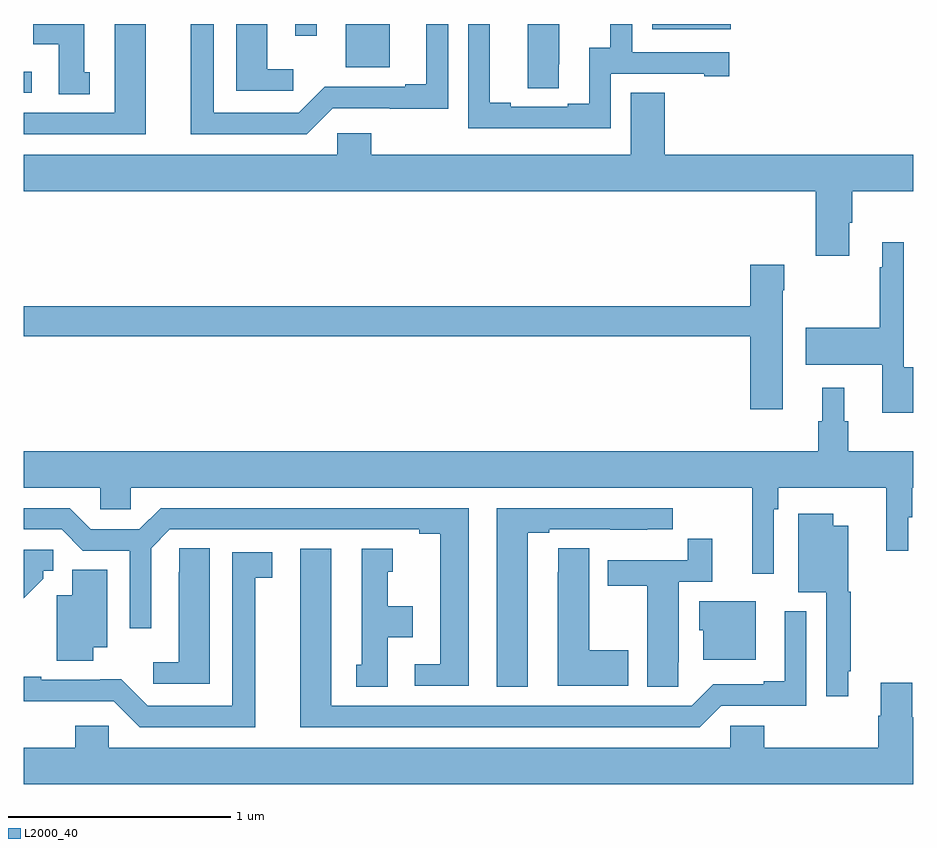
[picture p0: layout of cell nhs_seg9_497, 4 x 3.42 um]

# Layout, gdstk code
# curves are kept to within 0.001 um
import gdstk
lib = gdstk.Library(unit=1e-6, precision=1e-09)
def R(c, l, rs):  # rectangles x0, y0, x1, y1
    for r in rs: c.add(gdstk.rectangle(r[:2], r[2:], *l))
def P(c, l, *ps):  # polygons
    for p in ps: c.add(gdstk.Polygon(p, *l))
L2000_40 = (2000, 40)

nhs_seg9_497 = lib.new_cell('nhs_seg9_497')
R(nhs_seg9_497, L2000_40, [(135,1202.19,135.037,1202.286), (136.448,1202.306,136.645,1202.5), (136.221,1202.448,136.318,1202.5), (137.826,1202.477,138.178,1202.5)])
P(nhs_seg9_497, L2000_40, [(137.406,1202.32),(137.407,1202.32),(137.407,1202.5),(137.267,1202.5),(137.267,1202.212),(137.406,1202.212)],
  [(136.213,1202.296),(136.096,1202.296),(136.096,1202.5),(135.956,1202.5),(135.956,1202.199),(136.213,1202.199)],
  [(135.55,1202.5),(135.41,1202.5),(135.41,1202.1),(135,1202.1),(135,1202.004),(135.55,1202.004)],
  [(137.64,1202.277),(138.059,1202.277),(138.059,1202.265),(138.172,1202.265),(138.172,1202.373),(137.736,1202.373),(137.736,1202.5),(137.638,1202.5),(137.638,1202.393),(137.543,1202.393),(137.543,1202.142),(137.447,1202.142),(137.447,1202.127),(137.191,1202.127),(137.191,1202.147),(137.095,1202.147),(137.095,1202.5),(136.998,1202.5),(136.998,1202.031),(137.64,1202.031)],
  [(136.389,1202.121),(136.908,1202.12),(136.908,1202.5),(136.811,1202.5),(136.811,1202.23),(136.715,1202.23),(136.715,1202.217),(136.353,1202.217),(136.236,1202.1),(135.856,1202.1),(135.856,1202.5),(135.752,1202.5),(135.752,1202.004),(136.272,1202.004)],
  [(135.298,1202.283),(135.274,1202.283),(135.274,1202.5),(135.044,1202.5),(135.044,1202.408),(135.158,1202.408),(135.158,1202.185),(135.298,1202.185)],
  [(138.712,1201.606),(138.725,1201.606),(138.725,1201.748),(139,1201.748),(139,1201.912),(137.882,1201.912),(137.882,1202.192),(137.729,1202.192),(137.729,1201.912),(136.562,1201.912),(136.562,1202.01),(136.41,1202.01),(136.41,1201.912),(135,1201.912),(135,1201.748),(138.56,1201.748),(138.56,1201.458),(138.712,1201.458)],
  [(139,1200.958),(138.957,1200.958),(138.957,1201.519),(138.86,1201.519),(138.86,1201.406),(138.849,1201.406),(138.849,1201.134),(138.516,1201.134),(138.516,1200.968),(138.86,1200.968),(138.86,1200.752),(139,1200.752)],
  [(138.412,1201.304),(138.42,1201.304),(138.42,1201.417),(138.266,1201.417),(138.266,1201.232),(135,1201.232),(135,1201.096),(138.266,1201.096),(138.266,1200.768),(138.412,1200.768)],
  [(138.372,1200.32),(138.392,1200.32),(138.392,1200.416),(138.877,1200.416),(138.877,1200.132),(138.976,1200.132),(138.976,1200.282),(138.995,1200.282),(138.995,1200.416),(139,1200.416),(139,1200.58),(138.707,1200.58),(138.707,1200.714),(138.688,1200.714),(138.688,1200.865),(138.59,1200.865),(138.59,1200.714),(138.571,1200.714),(138.571,1200.58),(135,1200.58),(135,1200.416),(135.345,1200.416),(135.345,1200.318),(135.483,1200.318),(135.483,1200.416),(138.275,1200.416),(138.275,1200.03),(138.372,1200.03)],
  [(137.002,1200.324),(135.617,1200.324),(135.521,1200.228),(135.303,1200.228),(135.207,1200.324),(135,1200.324),(135,1200.228),(135.171,1200.228),(135.267,1200.132),(135.477,1200.132),(135.477,1199.784),(135.573,1199.784),(135.573,1200.144),(135.657,1200.228),(136.778,1200.228),(136.778,1200.208),(136.874,1200.208),(136.874,1199.622),(136.758,1199.622),(136.758,1199.526),(137.002,1199.526)],
  [(137.266,1200.213),(137.362,1200.213),(137.362,1200.228),(137.638,1200.228),(137.638,1200.227),(137.804,1200.227),(137.804,1200.228),(137.917,1200.228),(137.917,1200.324),(137.126,1200.324),(137.126,1199.521),(137.266,1199.521)],
  [(138.706,1199.59),(138.718,1199.59),(138.718,1199.949),(138.706,1199.949),(138.706,1200.244),(138.64,1200.244),(138.64,1200.298),(138.482,1200.298),(138.482,1199.945),(138.609,1199.945),(138.609,1199.478),(138.706,1199.478)],
  [(137.943,1199.632),(137.944,1199.632),(137.944,1199.994),(138.095,1199.994),(138.095,1200.187),(137.986,1200.187),(137.986,1200.09),(137.627,1200.09),(137.627,1199.974),(137.804,1199.974),(137.804,1199.521),(137.943,1199.521)],
  [(137.719,1199.685),(137.542,1199.685),(137.542,1200.143),(137.403,1200.143),(137.403,1200.035),(137.402,1200.035),(137.402,1199.525),(137.719,1199.525)],
  [(135.838,1200.143),(135.699,1200.143),(135.699,1200.035),(135.698,1200.035),(135.698,1199.632),(135.582,1199.632),(135.582,1199.535),(135.838,1199.535)],
  [(136.636,1199.744),(136.75,1199.744),(136.75,1199.884),(136.636,1199.884),(136.636,1200.039),(136.66,1200.039),(136.66,1200.142),(136.52,1200.142),(136.52,1199.619),(136.496,1199.619),(136.496,1199.521),(136.636,1199.521)],
  [(138.135,1199.436),(138.519,1199.436),(138.519,1199.86),(138.422,1199.86),(138.422,1199.545),(138.326,1199.545),(138.326,1199.532),(138.099,1199.532),(138.003,1199.436),(136.384,1199.436),(136.384,1200.142),(136.244,1200.142),(136.244,1199.34),(138.039,1199.34)],
  [(135.088,1200.007),(135.088,1200.042),(135.133,1200.042),(135.133,1200.138),(135,1200.138),(135,1199.919)],
  [(136.042,1200.01),(136.117,1200.01),(136.117,1200.126),(135.938,1200.126),(135.938,1199.436),(135.558,1199.436),(135.44,1199.554),(135.079,1199.553),(135.079,1199.566),(135,1199.566),(135,1199.456),(135.405,1199.457),(135.522,1199.34),(136.042,1199.34)],
  [(135.313,1199.699),(135.376,1199.699),(135.376,1200.047),(135.218,1200.047),(135.218,1199.932),(135.149,1199.932),(135.149,1199.638),(135.313,1199.638)],
  [(138.292,1199.905),(138.038,1199.905),(138.038,1199.775),(138.056,1199.775),(138.056,1199.642),(138.292,1199.642)],
  [(139,1199.385),(138.994,1199.385),(138.994,1199.539),(138.854,1199.539),(138.854,1199.39),(138.842,1199.39),(138.842,1199.248),(138.329,1199.248),(138.329,1199.346),(138.177,1199.346),(138.177,1199.248),(135.384,1199.248),(135.384,1199.346),(135.233,1199.346),(135.233,1199.248),(135,1199.248),(135,1199.084),(139,1199.084)])

lib.write_gds('nhs_seg9_497.gds')
